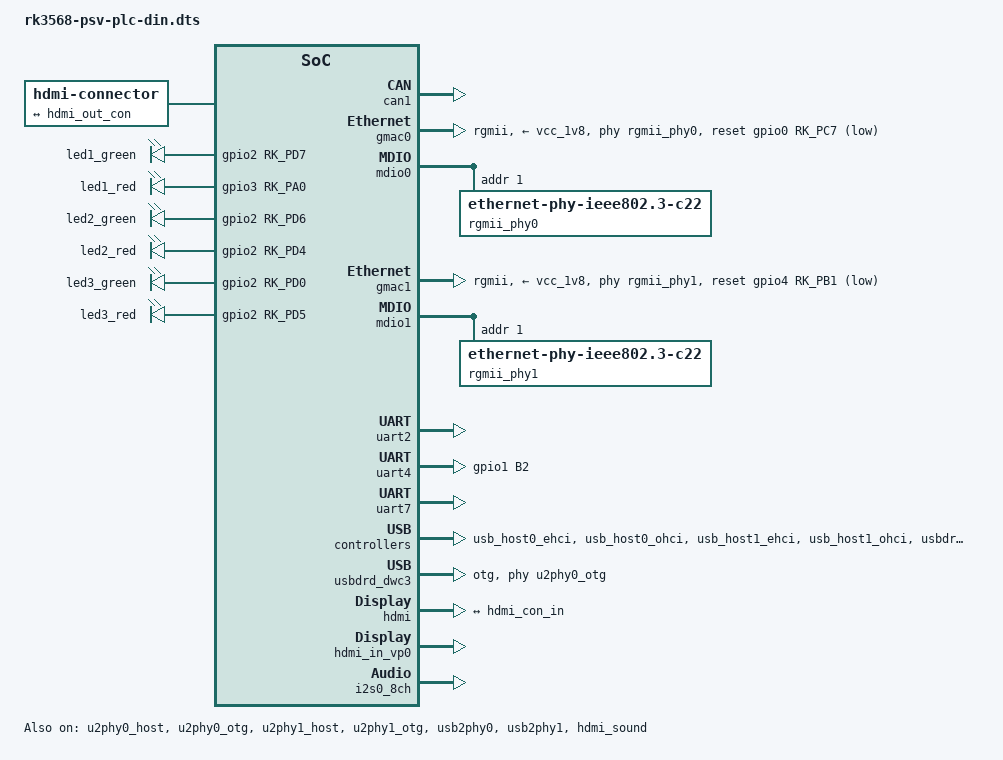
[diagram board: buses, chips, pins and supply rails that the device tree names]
/dts-v1/;
/plugin/;

#include <dt-bindings/gpio/gpio.h>
#include <dt-bindings/pinctrl/rockchip.h>
#include <dt-bindings/clock/rk3568-cru.h>
#include <dt-bindings/display/rockchip_vop.h>

&{/} {
    model = "PLC PSV RK3568 DIN";
	aliases {
		serial1 = "/soc/serial@fe680000";	// &uart4 modules
		serial2 = "/soc/serial@fe660000";	// &uart2 RS485-1
		serial3 = "/soc/serial@fe6b0000";	// &uart7 RS485-2
	};

	hdmi-con {
		compatible = "hdmi-connector";
		type = "a";

		port {
			hdmi_con_in: endpoint {
				remote-endpoint = <&hdmi_out_con>;
			};
		};
	};
};

&bt_en {
	reset-gpios = <&gpio0 RK_PC6 GPIO_ACTIVE_LOW>;
};

&GPIO6_pin {
	rockchip,pins = <0 RK_PC6 RK_FUNC_GPIO &pcfg_pull_down>;
};

&wl_en {
	reset-gpios = <&gpio4 RK_PC4 GPIO_ACTIVE_LOW>;
};

&GPIO5_pin {
	rockchip,pins = <4 RK_PC4 RK_FUNC_GPIO &pcfg_pull_none>;
};

&led1_green {
    gpios = <&gpio2 RK_PD7 GPIO_ACTIVE_HIGH>;
};

&led1_red {
    gpios = <&gpio3 RK_PA0 GPIO_ACTIVE_HIGH>;
};

&led2_green {
    gpios = <&gpio2 RK_PD6 GPIO_ACTIVE_HIGH>;
};

&led2_red {
    gpios = <&gpio2 RK_PD4 GPIO_ACTIVE_HIGH>;
};
        
&led3_green {
    gpios = <&gpio2 RK_PD0 GPIO_ACTIVE_HIGH>;
};
        
&led3_red {
    gpios = <&gpio2 RK_PD5 GPIO_ACTIVE_HIGH>;
};

&leds_gpio {
    rockchip,pins =
        <2 RK_PD7 RK_FUNC_GPIO &pcfg_pull_down>,
        <3 RK_PA0 RK_FUNC_GPIO &pcfg_pull_down>,
        <2 RK_PD6 RK_FUNC_GPIO &pcfg_pull_down>,
        <2 RK_PD4 RK_FUNC_GPIO &pcfg_pull_down>,
        <2 RK_PD0 RK_FUNC_GPIO &pcfg_pull_down>,
        <2 RK_PD5 RK_FUNC_GPIO &pcfg_pull_down>;
};

&can1 {
	assigned-clocks = <&cru CLK_CAN1>;
	assigned-clock-rates = <200000000>;
	pinctrl-names = "default";
	pinctrl-0 = <&can1m1_pins>;
	status = "okay";
};

&can2 {
	pinctrl-0 = <&can2m0_pins>;
};

&spi3 {
	pinctrl-0 = <&spi3m0_pins &spi3m0_cs0 &spi3m0_cs0>;
};

&gmac0 {
	assigned-clocks = <&cru SCLK_GMAC0_RX_TX>, <&cru SCLK_GMAC0>;
	assigned-clock-parents = <&cru SCLK_GMAC0_RGMII_SPEED>, <&cru CLK_MAC0_2TOP>, <&gmac0_clkin>;
	clock_in_out = "input";
	phy-mode = "rgmii";
	phy-supply = <&vcc_1v8>;
	phy-handle = <&rgmii_phy0>;
	pinctrl-names = "default";
	pinctrl-0 = <&gmac0_miim
		     &gmac0_tx_bus2
		     &gmac0_rx_bus2
			 &gmac0_clkinout
		     &gmac0_rgmii_clk
		     &gmac0_rgmii_bus>;
	snps,reset-gpio = <&gpio0 RK_PC7 GPIO_ACTIVE_LOW>;
	snps,reset-active-low;
	/* Reset time is 20ms, 100ms for rtl8211f */
	snps,reset-delays-us = <0 20000 100000>;
	tx_delay = <0x4f>;
	rx_delay = <0x0f>;
	status = "okay";
};

&mdio0 {
	#address-cells = <1>;
	#size-cells = <0>;
	rgmii_phy0: phy@1 {
		compatible = "ethernet-phy-ieee802.3-c22";
		reg = <0x1>;
	};
};

&gmac1 {
	assigned-clocks = <&cru SCLK_GMAC1_RX_TX>, <&cru SCLK_GMAC1>;
	assigned-clock-parents = <&cru SCLK_GMAC1_RGMII_SPEED>, <&cru CLK_MAC1_2TOP>, <&gmac1_clkin>;
	clock_in_out = "input";
	phy-mode = "rgmii";
	phy-supply = <&vcc_1v8>;
	phy-handle = <&rgmii_phy1>;
	pinctrl-names = "default";
	pinctrl-0 = <&gmac1m0_miim
		     &gmac1m0_tx_bus2
		     &gmac1m0_rx_bus2
			 &gmac1m0_clkinout
		     &gmac1m0_rgmii_clk
		     &gmac1m0_rgmii_bus>;
	snps,reset-gpio = <&gpio4 RK_PB1 GPIO_ACTIVE_LOW>;
	snps,reset-active-low;
	/* Reset time is 20ms, 100ms for rtl8211f */
	snps,reset-delays-us = <0 20000 100000>;
	tx_delay = <0x4f>;
	rx_delay = <0x0f>;
	status = "okay";
};

&mdio1 {
	#address-cells = <1>;
	#size-cells = <0>;
	rgmii_phy1: phy@1 {
		compatible = "ethernet-phy-ieee802.3-c22";
		reg = <0x1>;
	};
};

&uart2 {
	// RS485-1
	status = "okay";
	pinctrl-names = "default";
	pinctrl-0 = <&uart2m0_xfer &RS485_1_RT_pin>;
	dir-gpio = <&gpio4 RK_PA0 GPIO_ACTIVE_HIGH>;
};

&uart4 {
	// modules
	pinctrl-names = "default";
	pinctrl-0 = <&uart4m0_xfer &RS485_0_RT_pin>;
    dir-gpio = <&gpio1 RK_PB2 GPIO_ACTIVE_HIGH>;
	status = "okay";
};

&uart7 {
	// RS485-2
	status = "okay";
	pinctrl-names = "default";
	pinctrl-0 = <&uart7m2_xfer &RS485_1_RT_pin>;
	dir-gpio = <&gpio4 RK_PA0 GPIO_ACTIVE_HIGH>;
};

&uart9 {
	// RS485-3
	dir-gpio = <&gpio3 RK_PC6 GPIO_ACTIVE_HIGH>;
};

&RS485_3_RT_pin {
    rockchip,pins = <3 RK_PC6 RK_FUNC_GPIO &pcfg_pull_down>;
};

&pinctrl {
	uart4 { // RS485-0_R/T
		RS485_0_RT_pin: RS485-0_RT-pin {
			rockchip,pins = <1 RK_PB2 RK_FUNC_GPIO &pcfg_pull_down>;
		};
	};
};

&GPIO0_pin {
	// GPIO0 - resGSM_pins
	rockchip,pins = <0 RK_PC0 RK_FUNC_GPIO &pcfg_pull_up>;
};

&vcc5v0_host_en {
	rockchip,pins = <3 RK_PD3 RK_FUNC_GPIO &pcfg_pull_none>;
};

&sdmmc0 {
	/* front micro-SD */
	pinctrl-0 = <&sdmmc0_bus4 &sdmmc0_clk &sdmmc0_cmd &sdmmc0_det>;
};

&u2phy0_host {
	phy-supply = <&vcc5v0_host>;
	status = "okay";
};

&u2phy0_otg {
	vbus-supply = <&vcc5v0_otg>;
	status = "okay";
};

&u2phy1_host {
	phy-supply = <&vcc5v0_host>;
	status = "okay";
};

&u2phy1_otg {
	phy-supply = <&vcc5v0_host>;
	status = "okay";
};

/* USB OTG/USB Host_1 USB 2.0 Comb PHY_0 - front panel USB OTG */
&usb2phy0 {
	status = "okay";
};

/* USB Host_1/USB Host_2 USB 2.0 Comb PHY_0 */
&usb2phy1 {
	status = "okay";
};

/* USB 2.0 Host_2 EHCI controller for high speed */
&usb_host0_ehci {
	status = "okay";
};

/* USB 2.0 Host_2 OHCI controller for full/low speed */
&usb_host0_ohci {
	status = "okay";
};

/* USB 2.0 Host_3 EHCI controller for high speed */
&usb_host1_ehci {
	status = "okay";
};

/* USB 2.0 Host_3 OHCI controller for full/low speed */
&usb_host1_ohci {
	status = "okay";
};

&usbdrd_dwc3 {
	dr_mode = "otg";
	phys = <&u2phy0_otg>;
	phy-names = "usb2-phy";
	extcon = <&usb2phy0>;
	maximum-speed = "high-speed";
	snps,dis_u2_susphy_quirk;
	status = "okay";
};

/* USB 3.0 OTG controller */
&usbdrd30 {
	status = "okay";
};

&usbhost_dwc3 {
	status = "okay";
};

/* USB 3.0 Host_1 controller */
&usbhost30 {
	status = "okay";
};

&hdmi {
	avdd-0v9-supply = <&vdda0v9_image>;
	avdd-1v8-supply = <&vcca1v8_image>;
	status = "okay";

	ports {
		#address-cells = <1>;
		#size-cells = <0>;

		port@0 {
			reg = <0>;
			#address-cells = <1>;
			#size-cells = <0>;

			hdmi_out_con: endpoint@2 {
				reg = <2>;
				remote-endpoint = <&hdmi_con_in>;
			};
		};
	};
};

&hdmi_in_vp0 {
	status = "okay";
};

&hdmi_sound {
	status = "okay";
};

&i2s0_8ch {
	status = "okay";
};
